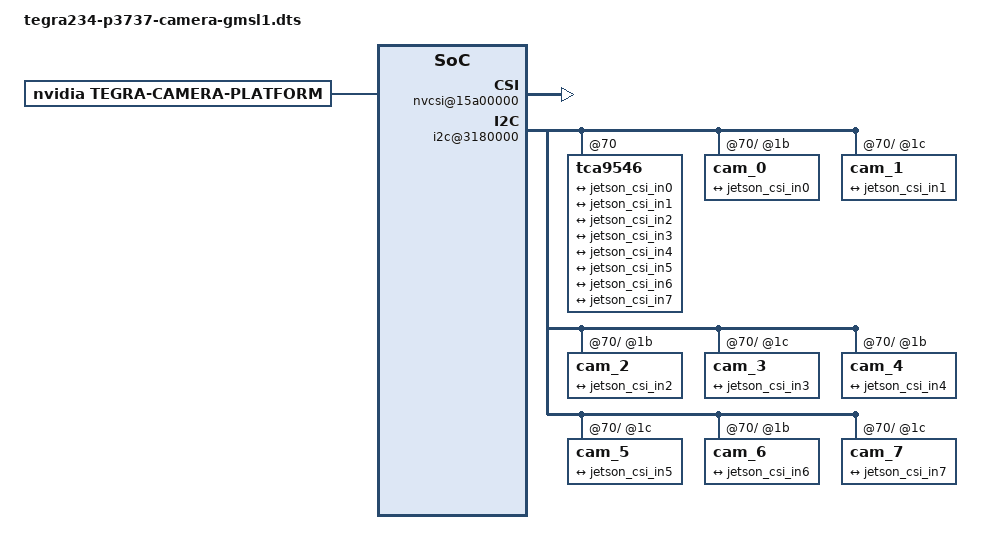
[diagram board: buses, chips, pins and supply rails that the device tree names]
// SPDX-License-Identifier: GPL-2.0-only
// Copyright (c) 2018-2023, NVIDIA CORPORATION & AFFILIATES. All rights reserved.

/dts-v1/;
/plugin/;

#include <dt-bindings/clock/tegra234-clock.h>
#include <dt-bindings/gpio/tegra234-gpio.h>

#define CAM_VDD_SYS_EN	TEGRA234_MAIN_GPIO(AC, 7)
#define DES_0_RESET		TEGRA234_MAIN_GPIO(H, 6)
#define DES_1_RESET		TEGRA234_MAIN_GPIO(H, 3)
#define DES_3_RESET		TEGRA234_MAIN_GPIO(AC, 1)
#define DES_2_RESET		TEGRA234_MAIN_GPIO(AC, 0)
#define CAMERA_I2C_MUX_BUS(x) (0x1E + x)

#define CAM0_RST_L	TEGRA234_MAIN_GPIO(H, 3)

/* camera control gpio definitions */
/ {
	//overlay-name = "Jetson Camera IMX390";
	overlay-name = "Jetson Camera";
	//jetson-header-name = "Jetson AGX CSI Connector";
	compatible = "nvidia,p3737-0000+p3701-0000", "nvidia,p3737-0000+p3701-0004", "nvidia,p3737-0000+p3701-0005";

	fragment@0 {
		target-path = "/";

		__overlay__ {
			tegra-capture-vi {
				num-channels = <8>;
				ports {
					status = "okay";
					#address-cells = <1>;
		        	#size-cells = <0>;
					port@0 {
						status = "okay";
						reg = <0>;
						jetson_vi_in0: endpoint {
							status = "okay";
							vc-id = <0>;
							port-index = <0>;
							bus-width = <4>;
							remote-endpoint = <&jetson_csi_out0>;
						};
					};
					port@1 {
						status = "okay";
						reg = <1>;
						jetson_vi_in1: endpoint {
							status = "okay";
							vc-id = <1>;
							port-index = <0>;
							bus-width = <4>;
							remote-endpoint = <&jetson_csi_out1>;
						};
					};
					port@2 {
						status = "okay";
						reg = <2>;
						jetson_vi_in2: endpoint {
							status = "okay";
							vc-id = <0>;
							port-index = <2>;
							bus-width = <4>;
							remote-endpoint = <&jetson_csi_out2>;
						};
					};
					port@3 {
						status = "okay";
						reg = <3>;
						jetson_vi_in3: endpoint {
							status = "okay";
							vc-id = <1>;
							port-index = <2>;
							bus-width = <4>;
							remote-endpoint = <&jetson_csi_out3>;
						};
					};
					port@4 {
						status = "okay";
						reg = <4>;
						jetson_vi_in4: endpoint {
							status = "okay";
							vc-id = <0>;
							port-index = <4>;
							bus-width = <4>;
							remote-endpoint = <&jetson_csi_out4>;
						};
					};
					port@5 {
						status = "okay";
						reg = <5>;
						jetson_vi_in5: endpoint {
							status = "okay";
							vc-id = <1>;
							port-index = <4>;
							bus-width = <4>;
							remote-endpoint = <&jetson_csi_out5>;
						};
					};
					port@6 {
						status = "okay";
						reg = <6>;
						jetson_vi_in6: endpoint {
							status = "okay";
							vc-id = <0>;
							port-index = <5>;
							bus-width = <4>;
							remote-endpoint = <&jetson_csi_out6>;
						};
					};
					port@7 {
						status = "okay";
						reg = <7>;
						jetson_vi_in7: endpoint {
							status = "okay";
							vc-id = <1>;
							port-index = <5>;
							bus-width = <4>;
							remote-endpoint = <&jetson_csi_out7>;
						};
					};
				};
			};
			bus@0{
				host1x@13e00000 {
					status = "okay";
					nvcsi@15a00000 {
						status = "okay";
						num-channels = <8>;
						#address-cells = <1>;
		        		#size-cells = <0>;
						channel@0 {
							status = "okay";
							reg = <0>;
							ports {
								status = "okay";
								#address-cells = <1>;
								#size-cells = <0>;
								port@0 {
									status = "okay";
									reg = <0>;
									jetson_csi_in0: endpoint@0 {
										status = "okay";
										port-index = <0>;
										bus-width = <4>;
										remote-endpoint = <&sensor_out0>;
									};
								};
								port@1 {
									status = "okay";
									reg = <1>;
									jetson_csi_out0: endpoint@1 {
										status = "okay";
										remote-endpoint = <&jetson_vi_in0>;
									};
								};
							};
						};
						channel@1 {
							status = "okay";
							reg = <1>;
							ports {
								status = "okay";
								#address-cells = <1>;
								#size-cells = <0>;
								port@0 {
									status = "okay";
									reg = <0>;
									jetson_csi_in1: endpoint@2 {
										status = "okay";
										port-index = <0>;
										bus-width = <4>;
										remote-endpoint = <&sensor_out1>;
									};
								};
								port@1 {
									status = "okay";
									reg = <1>;
									jetson_csi_out1: endpoint@3 {
										status = "okay";
										remote-endpoint = <&jetson_vi_in1>;
									};
								};
							};
						};
						channel@2 {
							status = "okay";
							reg = <2>;
							ports {
								status = "okay";
								#address-cells = <1>;
								#size-cells = <0>;
								port@0 {
									status = "okay";
									reg = <0>;
									jetson_csi_in2: endpoint@4 {
										status = "okay";
										port-index = <2>;
										bus-width = <4>;
										remote-endpoint = <&sensor_out2>;
									};
								};
								port@1 {
									status = "okay";
									reg = <1>;
									jetson_csi_out2: endpoint@5 {
										status = "okay";
										remote-endpoint = <&jetson_vi_in2>;
									};
								};
							};
						};
						channel@3 {
							status = "okay";
							reg = <3>;
							ports {
								status = "okay";
								#address-cells = <1>;
								#size-cells = <0>;
								port@0 {
									status = "okay";
									reg = <0>;
									jetson_csi_in3: endpoint@6 {
										status = "okay";
										port-index = <2>;
										bus-width = <4>;
										remote-endpoint = <&sensor_out3>;
									};
								};
								port@1 {
									status = "okay";
									reg = <1>;
									jetson_csi_out3: endpoint@7 {
										status = "okay";
										remote-endpoint = <&jetson_vi_in3>;
									};
								};
							};
						};
						channel@4 {
							status = "okay";
							reg = <4>;
							ports {
								status = "okay";
								#address-cells = <1>;
								#size-cells = <0>;
								port@0 {
									status = "okay";
									reg = <0>;
									jetson_csi_in4: endpoint@8 {
										status = "okay";
										port-index = <4>;
										bus-width = <4>;
										remote-endpoint = <&sensor_out4>;
									};
								};
								port@1 {
									status = "okay";
									reg = <1>;
									jetson_csi_out4: endpoint@9 {
										status = "okay";
										remote-endpoint = <&jetson_vi_in4>;
									};
								};
							};
						};
						channel@5 {
							status = "okay";
							reg = <5>;
							ports {
								status = "okay";
								#address-cells = <1>;
								#size-cells = <0>;
								port@0 {
									status = "okay";
									reg = <0>;
									jetson_csi_in5: endpoint@10 {
										status = "okay";
										port-index = <4>;
										bus-width = <4>;
										remote-endpoint = <&sensor_out5>;
									};
								};
								port@1 {
									status = "okay";
									reg = <1>;
									jetson_csi_out5: endpoint@11 {
										status = "okay";
										remote-endpoint = <&jetson_vi_in5>;
									};
								};
							};
						};
						channel@6 {
							status = "okay";
							reg = <6>;
							ports {
								status = "okay";
								#address-cells = <1>;
								#size-cells = <0>;
								port@0 {
									status = "okay";
									reg = <0>;
									jetson_csi_in6: endpoint@12 {
										status = "okay";
										port-index = <6>;
										bus-width = <4>;
										remote-endpoint = <&sensor_out6>;
									};
								};
								port@1 {
									status = "okay";
									reg = <1>;
									jetson_csi_out6: endpoint@13 {
										status = "okay";
										remote-endpoint = <&jetson_vi_in6>;
									};
								};
							};
						};
						channel@7 {
							status = "okay";
							reg = <7>;
							ports {
								status = "okay";
								#address-cells = <1>;
								#size-cells = <0>;
								port@0 {
									status = "okay";
									reg = <0>;
									jetson_csi_in7: endpoint@14 {
										status = "okay";
										port-index = <6>;
										bus-width = <4>;
										remote-endpoint = <&sensor_out7>;
									};
								};
								port@1 {
									status = "okay";
									reg = <1>;
									jetson_csi_out7: endpoint@15 {
										status = "okay";
										remote-endpoint = <&jetson_vi_in7>;
									};
								};
							};
						};
					};
				};

				i2c@3180000 {
					tca9546@70 {
						status = "okay";
						// compatible = "nxp,pca9546";
						// reg = <0x70>;
						// #address-cells = <1>;
						// #size-cells = <0>;
						// skip_mux_detect = "yes";
						// vif-supply = <&p3737_vdd_1v8_sys>;
						// vcc-supply = <&p3737_vdd_1v8_sys>;
						// vcc-pullup-supply = <&battery_reg>;
						// force_bus_start = <CAMERA_I2C_MUX_BUS(0)>;
						i2c@0 {
							status = "okay";
							// reg = <0>;
							// i2c-mux,deselect-on-exit;
							// #address-cells = <1>;
							// #size-cells = <0>;							
							// dser_0: max9296_0@48 {
							// 	status = "okay";
							// 	compatible = "maxim,max9296_0";
							// 	reg = <0x48>;
							// 	csi-mode = "2x4";
							// 	max-src = <2>;
							// 	reset-gpios = <&tegra_main_gpio DES_0_RESET GPIO_ACTIVE_HIGH>;
							// 	#if defined(SGX_YUV_GMSL1)
							// 	poc-ctrl = <&tegra_main_gpio CAM_VDD_SYS_EN GPIO_ACTIVE_LOW>;
							// 	#endif
							// };
							// ser_prim_0: max9295_prim_0@40{
							// 	compatible = "maxim,max9295_0";
							// 	reg = <0x40>;
							// 	is-prim-ser;
							// };
							// ser_0: max9295_0@60 {
							// 	compatible = "maxim,max9295_0";
							// 	reg = <0x60>;
							// 	sensing,gmsl-dser-device = <&dser_0>;
							// };
							// ser_1: max9295_1@62 {
							// 	compatible = "maxim,max9295_0";
							// 	reg = <0x62>;
							// 	sensing,gmsl-dser-device = <&dser_0>;
							// };
							cam_0@1b {
								status = "okay";
								/* Define any required hw resources needed by driver */
								/* ie. clocks, io pins, power sources */
								// clocks = <&bpmp TEGRA234_CLK_EXTPERIPH1>,
								// 		<&bpmp TEGRA234_CLK_EXTPERIPH1>;
								// clock-names = "extperiph1", "pllp_grtba";
								// mclk = "extperiph1";
								// sensing,gmsl-ser-device = <&ser_0>;
								// sensing,gmsl-dser-device = <&dser_0>;

								// compatible = "sony,imx390-0";
								// reg = <0x1b>;
								// def-addr = <0x21>;
								// devnode = "video0";

								// /* Physical dimensions of sensor */
								// physical_w = "15.0";
								// physical_h = "12.5";

								// sensor_model ="imx390";

								// /* Defines number of frames to be dropped by driver internally after applying */
								// /* sensor crop settings. Some sensors send corrupt frames after applying */
								// /* crop co-ordinates */
								// post_crop_frame_drop = "0";

								// /* Convert Gain to unit of dB (decibel) befor passing to kernel driver */
								// use_decibel_gain = "true";

								// /* enable CID_SENSOR_MODE_ID for sensor modes selection */
								// use_sensor_mode_id = "true";

								// mode0 {/*mode SENSOR_MODE_1920X1080_LCG_30FPS*/
								// 	mclk_khz = "24000";
								// 	num_lanes = "4";
								// 	tegra_sinterface = "serial_a";
								// 	vc_id = "1";
								// 	discontinuous_clk = "no";
								// 	dpcm_enable = "false";
								// 	cil_settletime = "0";
								// 	dynamic_pixel_bit_depth = "12";
								// 	csi_pixel_bit_depth = "12";
								// 	mode_type = "bayer";
								// 	pixel_phase = "rggb";

								// 	active_w = "1920";
								// 	active_h = "1080";
								// 	readout_orientation = "0";
								// 	line_length = "2200";
								// 	inherent_gain = "1";
								// 	pix_clk_hz = "74250000";
								// 	serdes_pix_clk_hz = "400000000";

								// 	gain_factor = "1000";
								// 	min_gain_val = "1"; /* dB */
								// 	max_gain_val = "30000"; /* dB */
								// 	step_gain_val = "300"; /* 0.3 */
								// 	default_gain = "0";
								// 	min_hdr_ratio = "1";
								// 	max_hdr_ratio = "1";
								// 	framerate_factor = "1000000";
								// 	min_framerate = "30000000";
								// 	max_framerate = "30000000";
								// 	step_framerate = "1";
								// 	default_framerate = "30000000";
								// 	exposure_factor = "1000000";
								// 	min_exp_time = "59"; /*us, 2 lines*/
								// 	max_exp_time = "33200";
								// 	step_exp_time = "2";
								// 	default_exp_time = "2000";/* us */
								// 	embedded_metadata_height = "0";
								// };
								// mode1 {/*mode SENSOR_MODE_1920X1080_CROP_30FPS*/
								// 	mclk_khz = "24000";
								// 	num_lanes = "4";
								// 	tegra_sinterface = "serial_a";
								// 	vc_id = "1";
								// 	discontinuous_clk = "no";
								// 	dpcm_enable = "false";
								// 	cil_settletime = "0";
								// 	dynamic_pixel_bit_depth = "20";
								// 	csi_pixel_bit_depth = "12";
								// 	mode_type = "bayer_wdr_pwl";
								// 	pixel_phase = "rggb";

								// 	active_w = "1920";
								// 	active_h = "1080";
								// 	readout_orientation = "0";
								// 	line_length = "2200";
								// 	inherent_gain = "1";
								// 	pix_clk_hz = "74250000";
								// 	serdes_pix_clk_hz = "400000000";

								// 	gain_factor = "1000";
								// 	min_gain_val = "1"; /* dB */
								// 	max_gain_val = "30000"; /* dB */
								// 	step_gain_val = "300"; /* 0.3 */
								// 	default_gain = "0";
								// 	min_hdr_ratio = "1";
								// 	max_hdr_ratio = "1";
								// 	framerate_factor = "1000000";
								// 	min_framerate = "30000000";
								// 	max_framerate = "30000000";
								// 	step_framerate = "1";
								// 	default_framerate = "30000000";
								// 	exposure_factor = "1000000";
								// 	min_exp_time = "59"; /*us, 2 lines*/
								// 	max_exp_time = "33333";
								// 	step_exp_time = "1";
								// 	default_exp_time = "33333";/* us */
								// 	embedded_metadata_height = "0";

								// 	/* WDR related settings */
								// 	num_control_point = "9";
								// 	control_point_x_0 = "0";
								// 	control_point_x_1 = "480";
								// 	control_point_x_2 = "1438";
								// 	control_point_x_3 = "4315";
								// 	control_point_x_4 = "12945";
								// 	control_point_x_5 = "38836";
								// 	control_point_x_6 = "116508";
								// 	control_point_x_7 = "349525";
								// 	control_point_x_8 = "1048576";
								// 	control_point_y_0 = "0";
								// 	control_point_y_1 = "480";
								// 	control_point_y_2 = "840";
								// 	control_point_y_3 = "1240";
								// 	control_point_y_4 = "1696";
								// 	control_point_y_5 = "2200";
								// 	control_point_y_6 = "2764";
								// 	control_point_y_7 = "3396";
								// 	control_point_y_8 = "4096";
								// };
								ports {
									status = "okay";
									// #address-cells = <1>;
									// #size-cells = <0>;
									port@0 {
										status = "okay";
										// reg = <0>;
										sensor_out0: endpoint {
											status = "okay";
											// vc-id = <0>;
											// port-index = <0>;
											// bus-width = <4>;
											remote-endpoint = <&jetson_csi_in0>;
										};
									};
								};
								gmsl-link {
									status = "okay";
									// src-csi-port = "b";
									// dst-csi-port = "a";
									// serdes-csi-link = "a";
									// csi-mode = "1x4";
									// st-vc = <0>;
									// vc-id = <0>;
									// num-lanes = <4>;
									// streams = "ued-u1", "raw12";
								};
							};
							cam_1@1c {
								status = "okay";
								/* Define any required hw resources needed by driver */
								/* ie. clocks, io pins, power sources */
								// clocks = <&bpmp TEGRA234_CLK_EXTPERIPH1>,
								// <&bpmp TEGRA234_CLK_EXTPERIPH1>;
								// clock-names = "extperiph1", "pllp_grtba";
								// mclk = "extperiph1";
								// sensing,gmsl-ser-device = <&ser_1>;
								// sensing,gmsl-dser-device = <&dser_0>;

								// compatible = "sony,imx390-1";
								// reg = <0x1c>;
								// def-addr = <0x21>;
								// devnode = "video1";

								// /* Physical dimensions of sensor */
								// physical_w = "15.0";
								// physical_h = "12.5";

								// sensor_model ="imx390";

								// /* Defines number of frames to be dropped by driver internally after applying */
								// /* sensor crop settings. Some sensors send corrupt frames after applying */
								// /* crop co-ordinates */
								// post_crop_frame_drop = "0";

								// /* Convert Gain to unit of dB (decibel) befor passing to kernel driver */
								// use_decibel_gain = "true";

								// /* enable CID_SENSOR_MODE_ID for sensor modes selection */
								// use_sensor_mode_id = "true";

								// mode0 {/*mode SENSOR_MODE_1920X1080_LCG_30FPS*/
								// 	mclk_khz = "24000";
								// 	num_lanes = "4";
								// 	tegra_sinterface = "serial_a";
								// 	vc_id = "2";
								// 	discontinuous_clk = "no";
								// 	dpcm_enable = "false";
								// 	cil_settletime = "0";
								// 	dynamic_pixel_bit_depth = "12";
								// 	csi_pixel_bit_depth = "12";
								// 	mode_type = "bayer";
								// 	pixel_phase = "rggb";

								// 	active_w = "1920";
								// 	active_h = "1080";
								// 	readout_orientation = "0";
								// 	line_length = "2200";
								// 	inherent_gain = "1";
								// 	pix_clk_hz = "74250000";
								// 	serdes_pix_clk_hz = "400000000";

								// 	gain_factor = "1000";
								// 	min_gain_val = "1"; /* dB */
								// 	max_gain_val = "30000"; /* dB */
								// 	step_gain_val = "300"; /* 0.3 */
								// 	default_gain = "0";
								// 	min_hdr_ratio = "1";
								// 	max_hdr_ratio = "1";
								// 	framerate_factor = "1000000";
								// 	min_framerate = "30000000";
								// 	max_framerate = "30000000";
								// 	step_framerate = "1";
								// 	default_framerate = "30000000";
								// 	exposure_factor = "1000000";
								// 	min_exp_time = "59"; /*us, 2 lines*/
								// 	max_exp_time = "33200";
								// 	step_exp_time = "2";
								// 	default_exp_time = "2000";/* us */
								// 	embedded_metadata_height = "0";
								// };
								// mode1 {/*mode SENSOR_MODE_1920X1080_CROP_30FPS*/
								// 	mclk_khz = "24000";
								// 	num_lanes = "4";
								// 	tegra_sinterface = "serial_a";
								// 	vc_id = "2";
								// 	discontinuous_clk = "no";
								// 	dpcm_enable = "false";
								// 	cil_settletime = "0";
								// 	dynamic_pixel_bit_depth = "20";
								// 	csi_pixel_bit_depth = "12";
								// 	mode_type = "bayer_wdr_pwl";
								// 	pixel_phase = "rggb";

								// 	active_w = "1920";
								// 	active_h = "1080";
								// 	readout_orientation = "0";
								// 	line_length = "2200";
								// 	inherent_gain = "1";
								// 	pix_clk_hz = "74250000";
								// 	serdes_pix_clk_hz = "400000000";

								// 	gain_factor = "1000";
								// 	min_gain_val = "1"; /* dB */
								// 	max_gain_val = "30000"; /* dB */
								// 	step_gain_val = "300"; /* 0.3 */
								// 	default_gain = "0";
								// 	min_hdr_ratio = "1";
								// 	max_hdr_ratio = "1";
								// 	framerate_factor = "1000000";
								// 	min_framerate = "30000000";
								// 	max_framerate = "30000000";
								// 	step_framerate = "1";
								// 	default_framerate = "30000000";
								// 	exposure_factor = "1000000";
								// 	min_exp_time = "59"; /*us, 2 lines*/
								// 	max_exp_time = "33333";
								// 	step_exp_time = "1";
								// 	default_exp_time = "33333";/* us */
								// 	embedded_metadata_height = "0";

								// 	/* WDR related settings */
								// 	num_control_point = "9";
								// 	control_point_x_0 = "0";
								// 	control_point_x_1 = "480";
								// 	control_point_x_2 = "1438";
								// 	control_point_x_3 = "4315";
								// 	control_point_x_4 = "12945";
								// 	control_point_x_5 = "38836";
								// 	control_point_x_6 = "116508";
								// 	control_point_x_7 = "349525";
								// 	control_point_x_8 = "1048576";
								// 	control_point_y_0 = "0";
								// 	control_point_y_1 = "480";
								// 	control_point_y_2 = "840";
								// 	control_point_y_3 = "1240";
								// 	control_point_y_4 = "1696";
								// 	control_point_y_5 = "2200";
								// 	control_point_y_6 = "2764";
								// 	control_point_y_7 = "3396";
								// 	control_point_y_8 = "4096";
								// };
								ports {
									status = "okay";
									// #address-cells = <1>;
									// #size-cells = <0>;
									port@0 {
										status = "okay";
										// reg = <0>;
										sensor_out1: endpoint {
											status = "okay";
											// vc-id = <1>;
											// port-index = <0>;
											// bus-width = <4>;
											remote-endpoint = <&jetson_csi_in1>;
										};
									};
								};
								gmsl-link {
									status = "okay";
									// src-csi-port = "b";
									// dst-csi-port = "a";
									// serdes-csi-link = "b";
									// csi-mode = "1x4";
									// st-vc = <0>;
									// vc-id = <1>;
									// num-lanes = <4>;
									// streams = "ued-u1", "raw12";
								};
							};
						};
						i2c@1 {
							cam_2@1b {
								status = "okay";
								// compatible = "sony,imx390-2";
								// reg = <0x1b>;
								// def-addr = <0x21>;
								// devnode = "video2";

								// /* Physical dimensions of sensor */
								// physical_w = "15.0";
								// physical_h = "12.5";
								// sensor_model ="imx390";

								// /* Defines number of frames to be dropped by driver internally after applying */
								// /* sensor crop settings. Some sensors send corrupt frames after applying */
								// /* crop co-ordinates */
								// post_crop_frame_drop = "0";

								// /* Convert Gain to unit of dB (decibel) befor passing to kernel driver */
								// use_decibel_gain = "true";

								// /* enable CID_SENSOR_MODE_ID for sensor modes selection */
								// use_sensor_mode_id = "true";

								// mode0 {/*mode SENSOR_MODE_1920X1080_LCG_30FPS*/
								// 	mclk_khz = "24000";
								// 	num_lanes = "4";
								// 	tegra_sinterface = "serial_c";
								// 	vc_id = "1";
								// 	discontinuous_clk = "no";
								// 	dpcm_enable = "false";
								// 	cil_settletime = "0";
								// 	dynamic_pixel_bit_depth = "12";
								// 	csi_pixel_bit_depth = "12";
								// 	mode_type = "bayer";
								// 	pixel_phase = "rggb";

								// 	active_w = "1920";
								// 	active_h = "1080";
								// 	readout_orientation = "0";
								// 	line_length = "2200";
								// 	inherent_gain = "1";
								// 	pix_clk_hz = "74250000";
								// 	serdes_pix_clk_hz = "400000000";

								// 	gain_factor = "1000";
								// 	min_gain_val = "1"; /* dB */
								// 	max_gain_val = "30000"; /* dB */
								// 	step_gain_val = "300"; /* 0.3 */
								// 	default_gain = "1";
								// 	min_hdr_ratio = "1";
								// 	max_hdr_ratio = "1";
								// 	framerate_factor = "1000000";
								// 	min_framerate = "30000000";
								// 	max_framerate = "30000000";
								// 	step_framerate = "1";
								// 	default_framerate = "30000000";
								// 	exposure_factor = "1000000";
								// 	min_exp_time = "59"; /*us, 2 lines*/
								// 	max_exp_time = "33200";
								// 	step_exp_time = "2";
								// 	default_exp_time = "2000";/* us */
								// 	embedded_metadata_height = "0";
								// };
								// mode1 {/*mode SENSOR_MODE_1920X1080_CROP_30FPS*/
								// 	mclk_khz = "24000";
								// 	num_lanes = "4";
								// 	tegra_sinterface = "serial_c";
								// 	vc_id = "1";
								// 	discontinuous_clk = "no";
								// 	dpcm_enable = "false";
								// 	cil_settletime = "0";
								// 	dynamic_pixel_bit_depth = "20";
								// 	csi_pixel_bit_depth = "12";
								// 	mode_type = "bayer_wdr_pwl";
								// 	pixel_phase = "rggb";

								// 	active_w = "1920";
								// 	active_h = "1080";
								// 	readout_orientation = "0";
								// 	line_length = "2200";
								// 	inherent_gain = "1";
								// 	pix_clk_hz = "74250000";
								// 	serdes_pix_clk_hz = "400000000";

								// 	gain_factor = "1000";
								// 	min_gain_val = "1"; /* dB */
								// 	max_gain_val = "30000"; /* dB */
								// 	step_gain_val = "300"; /* 0.3 */
								// 	default_gain = "1";
								// 	min_hdr_ratio = "1";
								// 	max_hdr_ratio = "1";
								// 	framerate_factor = "1000000";
								// 	min_framerate = "30000000";
								// 	max_framerate = "30000000";
								// 	step_framerate = "1";
								// 	default_framerate = "30000000";
								// 	exposure_factor = "1000000";
								// 	min_exp_time = "59"; /*us, 2 lines*/
								// 	max_exp_time = "33333";
								// 	step_exp_time = "1";
								// 	default_exp_time = "33333";/* us */
								// 	embedded_metadata_height = "0";

								// 	/* WDR related settings */
								// 	num_control_point = "9";
								// 	control_point_x_0 = "0";
								// 	control_point_x_1 = "480";
								// 	control_point_x_2 = "1438";
								// 	control_point_x_3 = "4315";
								// 	control_point_x_4 = "12945";
								// 	control_point_x_5 = "38836";
								// 	control_point_x_6 = "116508";
								// 	control_point_x_7 = "349525";
								// 	control_point_x_8 = "1048576";
								// 	control_point_y_0 = "0";
								// 	control_point_y_1 = "480";
								// 	control_point_y_2 = "840";
								// 	control_point_y_3 = "1240";
								// 	control_point_y_4 = "1696";
								// 	control_point_y_5 = "2200";
								// 	control_point_y_6 = "2764";
								// 	control_point_y_7 = "3396";
								// 	control_point_y_8 = "4096";
								// };
								ports {
									status = "okay";
									// #address-cells = <1>;
									// #size-cells = <0>;
									port@0 {
										status = "okay";
										// reg = <0>;
										sensor_out2: endpoint {
											status = "okay";
											// vc-id = <0>;
											// port-index = <2>;
											// bus-width = <4>;
											remote-endpoint = <&jetson_csi_in2>;
										};
									};
								};
								gmsl-link {
									status = "okay";
									// src-csi-port = "b";
									// dst-csi-port = "a";
									// serdes-csi-link = "a";
									// csi-mode = "1x4";
									// st-vc = <0>;
									// vc-id = <0>;
									// num-lanes = <4>;
									// streams = "ued-u1", "raw12";
								};
							};
							cam_3@1c {
								status = "okay";
								// compatible = "sony,imx390-3";
								// reg = <0x1c>;
								// def-addr = <0x21>;
								// devnode = "video3";

								// /* Physical dimensions of sensor */
								// physical_w = "15.0";
								// physical_h = "12.5";

								// sensor_model ="imx390";

								// /* Defines number of frames to be dropped by driver internally after applying */
								// /* sensor crop settings. Some sensors send corrupt frames after applying */
								// /* crop co-ordinates */
								// post_crop_frame_drop = "0";

								// /* Convert Gain to unit of dB (decibel) befor passing to kernel driver */
								// use_decibel_gain = "true";

								// /* enable CID_SENSOR_MODE_ID for sensor modes selection */
								// use_sensor_mode_id = "true";

								// mode0 {/*mode SENSOR_MODE_1920X1080_LCG_30FPS*/
								// 	mclk_khz = "24000";
								// 	num_lanes = "4";
								// 	tegra_sinterface = "serial_c";
								// 	vc_id = "2";
								// 	discontinuous_clk = "no";
								// 	dpcm_enable = "false";
								// 	cil_settletime = "0";
								// 	dynamic_pixel_bit_depth = "12";
								// 	csi_pixel_bit_depth = "12";
								// 	mode_type = "bayer";
								// 	pixel_phase = "rggb";

								// 	active_w = "1920";
								// 	active_h = "1080";
								// 	readout_orientation = "0";
								// 	line_length = "2200";
								// 	inherent_gain = "1";
								// 	pix_clk_hz = "74250000";
								// 	serdes_pix_clk_hz = "400000000";

								// 	gain_factor = "1000";
								// 	min_gain_val = "1"; /* dB */
								// 	max_gain_val = "30000"; /* dB */
								// 	step_gain_val = "300"; /* 0.3 */
								// 	default_gain = "1";
								// 	min_hdr_ratio = "1";
								// 	max_hdr_ratio = "1";
								// 	framerate_factor = "1000000";
								// 	min_framerate = "30000000";
								// 	max_framerate = "30000000";
								// 	step_framerate = "1";
								// 	default_framerate = "30000000";
								// 	exposure_factor = "1000000";
								// 	min_exp_time = "59"; /*us, 2 lines*/
								// 	max_exp_time = "33200";
								// 	step_exp_time = "2";
								// 	default_exp_time = "2000";/* us */
								// 	embedded_metadata_height = "0";
								// };
								// mode1 {/*mode SENSOR_MODE_1920X1080_CROP_30FPS*/
								// 	mclk_khz = "24000";
								// 	num_lanes = "4";
								// 	tegra_sinterface = "serial_c";
								// 	vc_id = "2";
								// 	discontinuous_clk = "no";
								// 	dpcm_enable = "false";
								// 	cil_settletime = "0";
								// 	dynamic_pixel_bit_depth = "20";
								// 	csi_pixel_bit_depth = "12";
								// 	mode_type = "bayer_wdr_pwl";
								// 	pixel_phase = "rggb";

								// 	active_w = "1920";
								// 	active_h = "1080";
								// 	readout_orientation = "0";
								// 	line_length = "2200";
								// 	inherent_gain = "1";
								// 	pix_clk_hz = "74250000";
								// 	serdes_pix_clk_hz = "400000000";

								// 	gain_factor = "1000";
								// 	min_gain_val = "1"; /* dB */
								// 	max_gain_val = "30000"; /* dB */
								// 	step_gain_val = "300"; /* 0.3 */
								// 	default_gain = "1";
								// 	min_hdr_ratio = "1";
								// 	max_hdr_ratio = "1";
								// 	framerate_factor = "1000000";
								// 	min_framerate = "30000000";
								// 	max_framerate = "30000000";
								// 	step_framerate = "1";
								// 	default_framerate = "30000000";
								// 	exposure_factor = "1000000";
								// 	min_exp_time = "59"; /*us, 2 lines*/
								// 	max_exp_time = "33333";
								// 	step_exp_time = "1";
								// 	default_exp_time = "33333";/* us */
								// 	embedded_metadata_height = "0";

								// 	/* WDR related settings */
								// 	num_control_point = "9";
								// 	control_point_x_0 = "0";
								// 	control_point_x_1 = "480";
								// 	control_point_x_2 = "1438";
								// 	control_point_x_3 = "4315";
								// 	control_point_x_4 = "12945";
								// 	control_point_x_5 = "38836";
								// 	control_point_x_6 = "116508";
								// 	control_point_x_7 = "349525";
								// 	control_point_x_8 = "1048576";
								// 	control_point_y_0 = "0";
								// 	control_point_y_1 = "480";
								// 	control_point_y_2 = "840";
								// 	control_point_y_3 = "1240";
								// 	control_point_y_4 = "1696";
								// 	control_point_y_5 = "2200";
								// 	control_point_y_6 = "2764";
								// 	control_point_y_7 = "3396";
								// 	control_point_y_8 = "4096";
								// };
								ports {
									status = "okay";
									// #address-cells = <1>;
									// #size-cells = <0>;
									port@0 {
										status = "okay";
										// reg = <0>;
										sensor_out3: endpoint {
											status = "okay";
											// vc-id = <1>;
											// port-index = <2>;
											// bus-width = <4>;
											remote-endpoint = <&jetson_csi_in3>;
										};
									};
								};
								gmsl-link {
									status = "okay";
									// src-csi-port = "b";
									// dst-csi-port = "a";
									// serdes-csi-link = "b";
									// csi-mode = "1x4";
									// st-vc = <0>;
									// vc-id = <1>;
									// num-lanes = <4>;
									// streams = "ued-u1", "raw12";
								};
							};
						};
						i2c@2 {
							cam_4@1b {
								status = "okay";
								// compatible = "sony,imx390-4";
								// reg = <0x1b>;
								// def-addr = <0x21>;
								// devnode = "video4";

								// /* Physical dimensions of sensor */
								// physical_w = "15.0";
								// physical_h = "12.5";

								// sensor_model ="imx390";

								// /* Defines number of frames to be dropped by driver internally after applying */
								// /* sensor crop settings. Some sensors send corrupt frames after applying */
								// /* crop co-ordinates */
								// post_crop_frame_drop = "0";

								// /* Convert Gain to unit of dB (decibel) befor passing to kernel driver */
								// use_decibel_gain = "true";

								// /* enable CID_SENSOR_MODE_ID for sensor modes selection */
								// use_sensor_mode_id = "true";

								// mode0 {/*mode SENSOR_MODE_1920X1080_LCG_30FPS*/
								// 	mclk_khz = "24000";
								// 	num_lanes = "4";
								// 	tegra_sinterface = "serial_e";
								// 	vc_id = "1";
								// 	discontinuous_clk = "no";
								// 	dpcm_enable = "false";
								// 	cil_settletime = "0";
								// 	dynamic_pixel_bit_depth = "12";
								// 	csi_pixel_bit_depth = "12";
								// 	mode_type = "bayer";
								// 	pixel_phase = "rggb";

								// 	active_w = "1920";
								// 	active_h = "1080";
								// 	readout_orientation = "0";
								// 	line_length = "2200";
								// 	inherent_gain = "1";
								// 	pix_clk_hz = "74250000";
								// 	serdes_pix_clk_hz = "400000000";

								// 	gain_factor = "1000";
								// 	min_gain_val = "1"; /* dB */
								// 	max_gain_val = "30000"; /* dB */
								// 	step_gain_val = "300"; /* 0.3 */
								// 	default_gain = "1";
								// 	min_hdr_ratio = "1";
								// 	max_hdr_ratio = "1";
								// 	framerate_factor = "1000000";
								// 	min_framerate = "30000000";
								// 	max_framerate = "30000000";
								// 	step_framerate = "1";
								// 	default_framerate = "30000000";
								// 	exposure_factor = "1000000";
								// 	min_exp_time = "59"; /*us, 2 lines*/
								// 	max_exp_time = "33200";
								// 	step_exp_time = "2";
								// 	default_exp_time = "2000";/* us */
								// 	embedded_metadata_height = "0";
								// };
								// mode1 {/*mode SENSOR_MODE_1920X1080_CROP_30FPS*/
								// 	mclk_khz = "24000";
								// 	num_lanes = "4";
								// 	tegra_sinterface = "serial_e";
								// 	vc_id = "1";
								// 	discontinuous_clk = "no";
								// 	dpcm_enable = "false";
								// 	cil_settletime = "0";
								// 	dynamic_pixel_bit_depth = "20";
								// 	csi_pixel_bit_depth = "12";
								// 	mode_type = "bayer_wdr_pwl";
								// 	pixel_phase = "rggb";

								// 	active_w = "1920";
								// 	active_h = "1080";
								// 	readout_orientation = "0";
								// 	line_length = "2200";
								// 	inherent_gain = "1";
								// 	pix_clk_hz = "74250000";
								// 	serdes_pix_clk_hz = "400000000";

								// 	gain_factor = "1000";
								// 	min_gain_val = "1"; /* dB */
								// 	max_gain_val = "30000"; /* dB */
								// 	step_gain_val = "300"; /* 0.3 */
								// 	default_gain = "1";
								// 	min_hdr_ratio = "1";
								// 	max_hdr_ratio = "1";
								// 	framerate_factor = "1000000";
								// 	min_framerate = "30000000";
								// 	max_framerate = "30000000";
								// 	step_framerate = "1";
								// 	default_framerate = "30000000";
								// 	exposure_factor = "1000000";
								// 	min_exp_time = "59"; /*us, 2 lines*/
								// 	max_exp_time = "33333";
								// 	step_exp_time = "1";
								// 	default_exp_time = "33333";/* us */
								// 	embedded_metadata_height = "0";

								// 	/* WDR related settings */
								// 	num_control_point = "9";
								// 	control_point_x_0 = "0";
								// 	control_point_x_1 = "480";
								// 	control_point_x_2 = "1438";
								// 	control_point_x_3 = "4315";
								// 	control_point_x_4 = "12945";
								// 	control_point_x_5 = "38836";
								// 	control_point_x_6 = "116508";
								// 	control_point_x_7 = "349525";
								// 	control_point_x_8 = "1048576";
								// 	control_point_y_0 = "0";
								// 	control_point_y_1 = "480";
								// 	control_point_y_2 = "840";
								// 	control_point_y_3 = "1240";
								// 	control_point_y_4 = "1696";
								// 	control_point_y_5 = "2200";
								// 	control_point_y_6 = "2764";
								// 	control_point_y_7 = "3396";
								// 	control_point_y_8 = "4096";
								// };
								ports {
									status = "okay";
									// #address-cells = <1>;
									// #size-cells = <0>;
									port@0 {
										status = "okay";
										// reg = <0>;
										sensor_out4: endpoint {
											status = "okay";
											// vc-id = <0>;
											// port-index = <4>;
											// bus-width = <4>;
											remote-endpoint = <&jetson_csi_in4>;
										};
									};
								};
								gmsl-link {
									status = "okay";
									// src-csi-port = "b";
									// dst-csi-port = "a";
									// serdes-csi-link = "a";
									// csi-mode = "1x4";
									// st-vc = <0>;
									// vc-id = <0>;
									// num-lanes = <4>;
									// streams = "ued-u1", "raw12";
								};
							};
							cam_5@1c {
								status = "okay";
								// compatible = "sony,imx390-5";
								// reg = <0x1c>;
								// def-addr = <0x21>;
								// devnode = "video5";

								// /* Physical dimensions of sensor */
								// physical_w = "15.0";
								// physical_h = "12.5";

								// sensor_model ="imx390";

								// /* Defines number of frames to be dropped by driver internally after applying */
								// /* sensor crop settings. Some sensors send corrupt frames after applying */
								// /* crop co-ordinates */
								// post_crop_frame_drop = "0";

								// /* Convert Gain to unit of dB (decibel) befor passing to kernel driver */
								// use_decibel_gain = "true";

								// /* enable CID_SENSOR_MODE_ID for sensor modes selection */
								// use_sensor_mode_id = "true";

								// mode0 {/*mode SENSOR_MODE_1920X1080_LCG_30FPS*/
								// 	mclk_khz = "24000";
								// 	num_lanes = "4";
								// 	tegra_sinterface = "serial_e";
								// 	vc_id = "2";
								// 	discontinuous_clk = "no";
								// 	dpcm_enable = "false";
								// 	cil_settletime = "0";
								// 	dynamic_pixel_bit_depth = "12";
								// 	csi_pixel_bit_depth = "12";
								// 	mode_type = "bayer";
								// 	pixel_phase = "rggb";

								// 	active_w = "1920";
								// 	active_h = "1080";
								// 	readout_orientation = "0";
								// 	line_length = "2200";
								// 	inherent_gain = "1";
								// 	pix_clk_hz = "74250000";
								// 	serdes_pix_clk_hz = "400000000";

								// 	gain_factor = "1000";
								// 	min_gain_val = "1"; /* dB */
								// 	max_gain_val = "30000"; /* dB */
								// 	step_gain_val = "300"; /* 0.3 */
								// 	default_gain = "1";
								// 	min_hdr_ratio = "1";
								// 	max_hdr_ratio = "1";
								// 	framerate_factor = "1000000";
								// 	min_framerate = "30000000";
								// 	max_framerate = "30000000";
								// 	step_framerate = "1";
								// 	default_framerate = "30000000";
								// 	exposure_factor = "1000000";
								// 	min_exp_time = "59"; /*us, 2 lines*/
								// 	max_exp_time = "33200";
								// 	step_exp_time = "2";
								// 	default_exp_time = "2000";/* us */
								// 	embedded_metadata_height = "0";
								// };
								// mode1 {/*mode SENSOR_MODE_1920X1080_CROP_30FPS*/
								// 	mclk_khz = "24000";
								// 	num_lanes = "4";
								// 	tegra_sinterface = "serial_e";
								// 	vc_id = "2";
								// 	discontinuous_clk = "no";
								// 	dpcm_enable = "false";
								// 	cil_settletime = "0";
								// 	dynamic_pixel_bit_depth = "20";
								// 	csi_pixel_bit_depth = "12";
								// 	mode_type = "bayer_wdr_pwl";
								// 	pixel_phase = "rggb";

								// 	active_w = "1920";
								// 	active_h = "1080";
								// 	readout_orientation = "0";
								// 	line_length = "2200";
								// 	inherent_gain = "1";
								// 	pix_clk_hz = "74250000";
								// 	serdes_pix_clk_hz = "400000000";

								// 	gain_factor = "1000";
								// 	min_gain_val = "1"; /* dB */
								// 	max_gain_val = "30000"; /* dB */
								// 	step_gain_val = "300"; /* 0.3 */
								// 	default_gain = "1";
								// 	min_hdr_ratio = "1";
								// 	max_hdr_ratio = "1";
								// 	framerate_factor = "1000000";
								// 	min_framerate = "30000000";
								// 	max_framerate = "30000000";
								// 	step_framerate = "1";
								// 	default_framerate = "30000000";
								// 	exposure_factor = "1000000";
								// 	min_exp_time = "59"; /*us, 2 lines*/
								// 	max_exp_time = "33333";
								// 	step_exp_time = "1";
								// 	default_exp_time = "33333";/* us */
								// 	embedded_metadata_height = "0";

								// 	/* WDR related settings */
								// 	num_control_point = "9";
								// 	control_point_x_0 = "0";
								// 	control_point_x_1 = "480";
								// 	control_point_x_2 = "1438";
								// 	control_point_x_3 = "4315";
								// 	control_point_x_4 = "12945";
								// 	control_point_x_5 = "38836";
								// 	control_point_x_6 = "116508";
								// 	control_point_x_7 = "349525";
								// 	control_point_x_8 = "1048576";
								// 	control_point_y_0 = "0";
								// 	control_point_y_1 = "480";
								// 	control_point_y_2 = "840";
								// 	control_point_y_3 = "1240";
								// 	control_point_y_4 = "1696";
								// 	control_point_y_5 = "2200";
								// 	control_point_y_6 = "2764";
								// 	control_point_y_7 = "3396";
								// 	control_point_y_8 = "4096";
								// };
								ports {
									status = "okay";
									// #address-cells = <1>;
									// #size-cells = <0>;
									port@0 {
										status = "okay";
										// reg = <0>;
										sensor_out5: endpoint {
											status = "okay";
											// vc-id = <1>;
											// port-index = <4>;
											// bus-width = <4>;
											remote-endpoint = <&jetson_csi_in5>;
										};
									};
								};
								gmsl-link {
									status = "okay";
									// src-csi-port = "b";
									// dst-csi-port = "a";
									// serdes-csi-link = "b";
									// csi-mode = "1x4";
									// st-vc = <0>;
									// vc-id = <1>;
									// num-lanes = <4>;
									// streams = "ued-u1", "raw12";
								};
							};
						};
						i2c@3 {
							cam_6@1b {
								status = "okay";
								// compatible = "sony,imx390-6";
								// reg = <0x1b>;
								// def-addr = <0x21>;
								// devnode = "video6";

								// /* Physical dimensions of sensor */
								// physical_w = "15.0";
								// physical_h = "12.5";
								// sensor_model ="imx390";

								// /* Defines number of frames to be dropped by driver internally after applying */
								// /* sensor crop settings. Some sensors send corrupt frames after applying */
								// /* crop co-ordinates */
								// post_crop_frame_drop = "0";

								// /* Convert Gain to unit of dB (decibel) befor passing to kernel driver */
								// use_decibel_gain = "true";

								// /* enable CID_SENSOR_MODE_ID for sensor modes selection */
								// use_sensor_mode_id = "true";


								// mode0 {/*mode SENSOR_MODE_1920X1080_LCG_30FPS*/
								// 	mclk_khz = "24000";
								// 	num_lanes = "4";
								// 	tegra_sinterface = "serial_g";
								// 	vc_id = "1";
								// 	discontinuous_clk = "no";
								// 	dpcm_enable = "false";
								// 	cil_settletime = "0";
								// 	dynamic_pixel_bit_depth = "12";
								// 	csi_pixel_bit_depth = "12";
								// 	mode_type = "bayer";
								// 	pixel_phase = "rggb";

								// 	active_w = "1920";
								// 	active_h = "1080";
								// 	readout_orientation = "0";
								// 	line_length = "2200";
								// 	inherent_gain = "1";
								// 	pix_clk_hz = "74250000";
								// 	serdes_pix_clk_hz = "400000000";

								// 	gain_factor = "1000";
								// 	min_gain_val = "1"; /* dB */
								// 	max_gain_val = "30000"; /* dB */
								// 	step_gain_val = "300"; /* 0.3 */
								// 	default_gain = "1";
								// 	min_hdr_ratio = "1";
								// 	max_hdr_ratio = "1";
								// 	framerate_factor = "1000000";
								// 	min_framerate = "30000000";
								// 	max_framerate = "30000000";
								// 	step_framerate = "1";
								// 	default_framerate = "30000000";
								// 	exposure_factor = "1000000";
								// 	min_exp_time = "59"; /*us, 2 lines*/
								// 	max_exp_time = "33200";
								// 	step_exp_time = "2";
								// 	default_exp_time = "2000";/* us */
								// 	embedded_metadata_height = "0";
								// };
								// mode1 {/*mode SENSOR_MODE_1920X1080_CROP_30FPS*/
								// 	mclk_khz = "24000";
								// 	num_lanes = "4";
								// 	tegra_sinterface = "serial_g";
								// 	vc_id = "1";
								// 	discontinuous_clk = "no";
								// 	dpcm_enable = "false";
								// 	cil_settletime = "0";
								// 	dynamic_pixel_bit_depth = "20";
								// 	csi_pixel_bit_depth = "12";
								// 	mode_type = "bayer_wdr_pwl";
								// 	pixel_phase = "rggb";

								// 	active_w = "1920";
								// 	active_h = "1080";
								// 	readout_orientation = "0";
								// 	line_length = "2200";
								// 	inherent_gain = "1";
								// 	pix_clk_hz = "74250000";
								// 	serdes_pix_clk_hz = "400000000";

								// 	gain_factor = "1000";
								// 	min_gain_val = "1"; /* dB */
								// 	max_gain_val = "30000"; /* dB */
								// 	step_gain_val = "300"; /* 0.3 */
								// 	default_gain = "1";
								// 	min_hdr_ratio = "1";
								// 	max_hdr_ratio = "1";
								// 	framerate_factor = "1000000";
								// 	min_framerate = "30000000";
								// 	max_framerate = "30000000";
								// 	step_framerate = "1";
								// 	default_framerate = "30000000";
								// 	exposure_factor = "1000000";
								// 	min_exp_time = "59"; /*us, 2 lines*/
								// 	max_exp_time = "33333";
								// 	step_exp_time = "1";
								// 	default_exp_time = "33333";/* us */
								// 	embedded_metadata_height = "0";

								// 	/* WDR related settings */
								// 	num_control_point = "9";
								// 	control_point_x_0 = "0";
								// 	control_point_x_1 = "480";
								// 	control_point_x_2 = "1438";
								// 	control_point_x_3 = "4315";
								// 	control_point_x_4 = "12945";
								// 	control_point_x_5 = "38836";
								// 	control_point_x_6 = "116508";
								// 	control_point_x_7 = "349525";
								// 	control_point_x_8 = "1048576";
								// 	control_point_y_0 = "0";
								// 	control_point_y_1 = "480";
								// 	control_point_y_2 = "840";
								// 	control_point_y_3 = "1240";
								// 	control_point_y_4 = "1696";
								// 	control_point_y_5 = "2200";
								// 	control_point_y_6 = "2764";
								// 	control_point_y_7 = "3396";
								// 	control_point_y_8 = "4096";
								// };
								ports {
									status = "okay";
									// #address-cells = <1>;
									// #size-cells = <0>;
									port@0 {
										status = "okay";
										// reg = <0>;
										sensor_out6: endpoint {
											status = "okay";
											// vc-id = <0>;
											// port-index = <6>;
											// bus-width = <4>;
											remote-endpoint = <&jetson_csi_in6>;
										};
									};
								};
								gmsl-link {
									status = "okay";
									// src-csi-port = "b";
									// dst-csi-port = "a";
									// serdes-csi-link = "a";
									// csi-mode = "1x4";
									// st-vc = <0>;
									// vc-id = <0>;
									// num-lanes = <4>;
									// streams = "ued-u1", "raw12";
								};
							};
							cam_7@1c {
								status = "okay";
								// compatible = "sony,imx390-7";
								// reg = <0x1c>;
								// def-addr = <0x21>;
								// devnode = "video7";

								// /* Physical dimensions of sensor */
								// physical_w = "15.0";
								// physical_h = "12.5";

								// sensor_model ="imx390";

								// /* Defines number of frames to be dropped by driver internally after applying */
								// /* sensor crop settings. Some sensors send corrupt frames after applying */
								// /* crop co-ordinates */
								// post_crop_frame_drop = "0";

								// /* Convert Gain to unit of dB (decibel) befor passing to kernel driver */
								// use_decibel_gain = "true";

								// /* enable CID_SENSOR_MODE_ID for sensor modes selection */
								// use_sensor_mode_id = "true";

								// mode0 {/*mode SENSOR_MODE_1920X1080_LCG_30FPS*/
								// 	mclk_khz = "24000";
								// 	num_lanes = "4";
								// 	tegra_sinterface = "serial_g";
								// 	vc_id = "2";
								// 	discontinuous_clk = "no";
								// 	dpcm_enable = "false";
								// 	cil_settletime = "0";
								// 	dynamic_pixel_bit_depth = "12";
								// 	csi_pixel_bit_depth = "12";
								// 	mode_type = "bayer";
								// 	pixel_phase = "rggb";

								// 	active_w = "1920";
								// 	active_h = "1080";
								// 	readout_orientation = "0";
								// 	line_length = "2200";
								// 	inherent_gain = "1";
								// 	pix_clk_hz = "74250000";
								// 	serdes_pix_clk_hz = "400000000";

								// 	gain_factor = "1000";
								// 	min_gain_val = "1"; /* dB */
								// 	max_gain_val = "30000"; /* dB */
								// 	step_gain_val = "300"; /* 0.3 */
								// 	default_gain = "1";
								// 	min_hdr_ratio = "1";
								// 	max_hdr_ratio = "1";
								// 	framerate_factor = "1000000";
								// 	min_framerate = "30000000";
								// 	max_framerate = "30000000";
								// 	step_framerate = "1";
								// 	default_framerate = "30000000";
								// 	exposure_factor = "1000000";
								// 	min_exp_time = "59"; /*us, 2 lines*/
								// 	max_exp_time = "33200";
								// 	step_exp_time = "2";
								// 	default_exp_time = "2000";/* us */
								// 	embedded_metadata_height = "0";
								// };
								// mode1 {/*mode SENSOR_MODE_1920X1080_CROP_30FPS*/
								// 	mclk_khz = "24000";
								// 	num_lanes = "4";
								// 	tegra_sinterface = "serial_g";
								// 	vc_id = "2";
								// 	discontinuous_clk = "no";
								// 	dpcm_enable = "false";
								// 	cil_settletime = "0";
								// 	dynamic_pixel_bit_depth = "20";
								// 	csi_pixel_bit_depth = "12";
								// 	mode_type = "bayer_wdr_pwl";
								// 	pixel_phase = "rggb";

								// 	active_w = "1920";
								// 	active_h = "1080";
								// 	readout_orientation = "0";
								// 	line_length = "2200";
								// 	inherent_gain = "1";
								// 	pix_clk_hz = "74250000";
								// 	serdes_pix_clk_hz = "400000000";

								// 	gain_factor = "1000";
								// 	min_gain_val = "1"; /* dB */
								// 	max_gain_val = "30000"; /* dB */
								// 	step_gain_val = "300"; /* 0.3 */
								// 	default_gain = "1";
								// 	min_hdr_ratio = "1";
								// 	max_hdr_ratio = "1";
								// 	framerate_factor = "1000000";
								// 	min_framerate = "30000000";
								// 	max_framerate = "30000000";
								// 	step_framerate = "1";
								// 	default_framerate = "30000000";
								// 	exposure_factor = "1000000";
								// 	min_exp_time = "59"; /*us, 2 lines*/
								// 	max_exp_time = "33333";
								// 	step_exp_time = "1";
								// 	default_exp_time = "33333";/* us */
								// 	embedded_metadata_height = "0";

								// 	/* WDR related settings */
								// 	num_control_point = "9";
								// 	control_point_x_0 = "0";
								// 	control_point_x_1 = "480";
								// 	control_point_x_2 = "1438";
								// 	control_point_x_3 = "4315";
								// 	control_point_x_4 = "12945";
								// 	control_point_x_5 = "38836";
								// 	control_point_x_6 = "116508";
								// 	control_point_x_7 = "349525";
								// 	control_point_x_8 = "1048576";
								// 	control_point_y_0 = "0";
								// 	control_point_y_1 = "480";
								// 	control_point_y_2 = "840";
								// 	control_point_y_3 = "1240";
								// 	control_point_y_4 = "1696";
								// 	control_point_y_5 = "2200";
								// 	control_point_y_6 = "2764";
								// 	control_point_y_7 = "3396";
								// 	control_point_y_8 = "4096";
								// };
								ports {
									status = "okay";
									// #address-cells = <1>;
									// #size-cells = <0>;
									port@0 {
										status = "okay";
										// reg = <0>;
										sensor_out7: endpoint {
											status = "okay";
											// vc-id = <1>;
											// port-index = <6>;
											// bus-width = <4>;
											remote-endpoint = <&jetson_csi_in7>;
										};
									};
								};
								gmsl-link {
									status = "okay";
									// src-csi-port = "b";
									// dst-csi-port = "a";
									// serdes-csi-link = "b";
									// csi-mode = "1x4";
									// st-vc = <0>;
									// vc-id = <1>;
									// num-lanes = <4>;
									// streams = "ued-u1", "raw12";
								};
							};
						};
					};
				};
			};
			tegra-camera-platform {
				compatible = "nvidia, tegra-camera-platform";

				num_csi_lanes = <16>;
				max_lane_speed = <4000000>;
				min_bits_per_pixel = <10>;
				vi_peak_byte_per_pixel = <2>;
				vi_bw_margin_pct = <25>;
				isp_peak_byte_per_pixel = <5>;
				isp_bw_margin_pct = <25>;

				modules {
					status = "okay";
					module0 {
						status = "okay";
						// badge = "cam0_position0";
						// position = "position0";
						badge = "cam0_bottomleft";
						position = "bottomleft";
						orientation = "1";
						drivernode0 {
							status = "okay";
							/* Declare PCL support driver (classically known as guid)  */
							pcl_id = "v4l2_sensor";
							// /* Driver v4l2 device name */
							// devname = "imx390 30-001b";
							/* Declare the device-tree hierarchy to driver instance */
							// proc-device-tree = "/proc/device-tree/bus@0/i2c@3180000/tca9546@70/i2c@0/cam_0@1b";
							/* Declare the device-tree hierarchy to driver instance */
							sysfs-device-tree = "/sys/firmware/devicetree/base/bus@0/i2c@3180000/tca9546@70/i2c@0/cam_0@1b";
						};
					};
					module1 {
						status = "okay";
						// badge = "cam1_position1";
						// position = "position1";
						badge = "cam1_bottomright";
						position = "bottomright";
						orientation = "1";
						drivernode0 {
							status = "okay";
							/* Declare PCL support driver (classically known as guid)  */
							pcl_id = "v4l2_sensor";
							/* Driver v4l2 device name */
							// devname = "imx390 30-001c";
							/* Declare the device-tree hierarchy to driver instance */
							// proc-device-tree = "/proc/device-tree/bus@0/i2c@3180000/tca9546@70/i2c@0/cam_1@1c";
							/* Declare the device-tree hierarchy to driver instance */
							sysfs-device-tree = "/sys/firmware/devicetree/base/bus@0/i2c@3180000/tca9546@70/i2c@0/cam_1@1c";
						};
					};
					module2 {
						status = "okay";
						// badge = "cam2_position2";
						// position = "position2";
						badge = "cam2_centerleft";
						position = "centerleft";
						orientation = "1";
						drivernode0 {
							status = "okay";
							/* Declare PCL support driver (classically known as guid)  */
							pcl_id = "v4l2_sensor";
							// /* Driver v4l2 device name */
							// devname = "imx390 31-001b";
							// /* Declare the device-tree hierarchy to driver instance */
							// // proc-device-tree = "/proc/device-tree/bus@0/i2c@3180000/tca9546@70/i2c@1/cam_2@1b";
							// /* Declare the device-tree hierarchy to driver instance */
							sysfs-device-tree = "/sys/firmware/devicetree/base/bus@0/i2c@3180000/tca9546@70/i2c@1/cam_2@1b";
						};
					};
					module3 {
						status = "okay";
						// badge = "cam3_position3";
						// position = "position3";
						badge = "cam3_centerright";
						position = "centerright";
						orientation = "1";
						drivernode0 {
							status = "okay";
							/* Declare PCL support driver (classically known as guid)  */
							pcl_id = "v4l2_sensor";
							// /* Driver v4l2 device name */
							// devname = "imx390 31-001c";
							// /* Declare the device-tree hierarchy to driver instance */
							// // proc-device-tree = "/proc/device-tree/bus@0/i2c@3180000/tca9546@70/i2c@1/cam_3@1c";
							// /* Declare the device-tree hierarchy to driver instance */
							sysfs-device-tree = "/sys/firmware/devicetree/base/bus@0/i2c@3180000/tca9546@70/i2c@1/cam_3@1c";
						};
					};
					module4 {
						status = "okay";
						// badge = "cam4_position4";
						// position = "position4";
						badge = "cam4_topleft";
						position = "topleft";
						orientation = "1";
						drivernode0 {
							status = "okay";
							/* Declare PCL support driver (classically known as guid)  */
							pcl_id = "v4l2_sensor";
							// /* Driver v4l2 device name */
							// devname = "imx390 32-001b";
							// /* Declare the device-tree hierarchy to driver instance */
							// // proc-device-tree = "/proc/device-tree/bus@0/i2c@3180000/tca9546@70/i2c@2/cam_4@1b";
							// /* Declare the device-tree hierarchy to driver instance */
							sysfs-device-tree = "/sys/firmware/devicetree/base/bus@0/i2c@3180000/tca9546@70/i2c@2/cam_4@1b";
						};
					};
					module5 {
						status = "okay";
						badge = "cam5_topright";
						position = "topright";
						orientation = "1";
						drivernode0 {
							status = "okay";
							/* Declare PCL support driver (classically known as guid)  */
							pcl_id = "v4l2_sensor";
							// /* Driver v4l2 device name */
							// devname = "imx390 32-001c";
							// /* Declare the device-tree hierarchy to driver instance */
							// // proc-device-tree = "/proc/device-tree/bus@0/i2c@3180000/tca9546@70/i2c@2/cam_5@1c";
							// /* Declare the device-tree hierarchy to driver instance */
							sysfs-device-tree = "/sys/firmware/devicetree/base/bus@0/i2c@3180000/tca9546@70/i2c@2/cam_5@1c";
						};
					};
					module6 {
						badge = "cam6_rear";
						position = "rear";
						orientation = "1";
						drivernode0 {
							/* Declare PCL support driver (classically known as guid)  */
							pcl_id = "v4l2_sensor";
							/* Driver v4l2 device name */
							// devname = "imx390 33-001b";
							/* Declare the device-tree hierarchy to driver instance */
							// proc-device-tree = "/proc/device-tree/bus@0/i2c@3180000/tca9546@70/i2c@3/cam_6@1b";
							/* Declare the device-tree hierarchy to driver instance */
							sysfs-device-tree = "/sys/firmware/devicetree/base/bus@0/i2c@3180000/tca9546@70/i2c@3/cam_6@1b";
						};
					};
					module7 {
						badge = "cam7_front";
						position = "front";
						orientation = "1";
						drivernode0 {
							/* Declare PCL support driver (classically known as guid)  */
							pcl_id = "v4l2_sensor";
							/* Driver v4l2 device name */
							// devname = "imx390 33-001c";
							/* Declare the device-tree hierarchy to driver instance */
							//proc-device-tree = "/proc/device-tree/bus@0/i2c@3180000/tca9546@70/i2c@3/cam_7@1c";
							/* Declare the device-tree hierarchy to driver instance */
							sysfs-device-tree = "/sys/firmware/devicetree/base/bus@0/i2c@3180000/tca9546@70/i2c@3/cam_7@1c";
						};
					};
				};
			};
		};
	};
};
